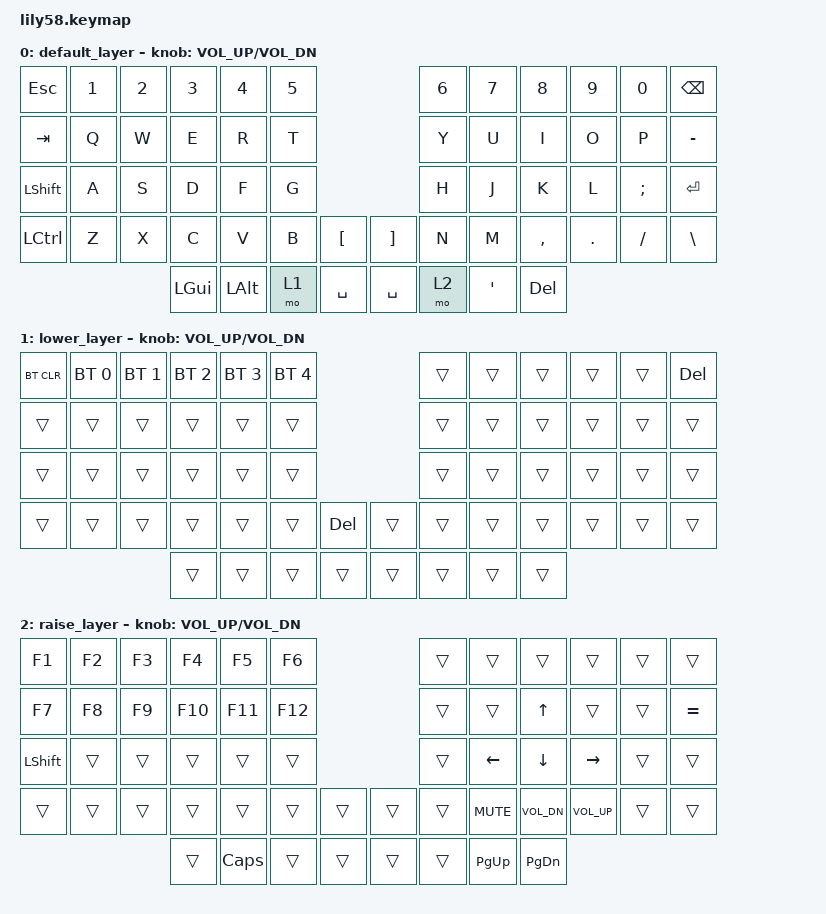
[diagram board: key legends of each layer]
/*
 * Copyright (c) 2020 The ZMK Contributors
 *
 * SPDX-License-Identifier: MIT
 */

#include <behaviors.dtsi>
#include <dt-bindings/zmk/keys.h>
#include <dt-bindings/zmk/bt.h>
#include <dt-bindings/zmk/ext_power.h>

/ {
	keymap {
		compatible = "zmk,keymap";

		default_layer {
// ------------------------------------------------------------------------------------------------------------
// |  ESC  |  1  |  2  |  3   |  4   |  5   |                   |  6   |  7    |  8    |  9   |   0   |   `   |
// |  TAB  |  Q  |  W  |  E   |  R   |  T   |                   |  Y   |  U    |  I    |  O   |   P   |   -   |
// |  CTRL |  A  |  S  |  D   |  F   |  G   |                   |  H   |  J    |  K    |  L   |   ;   |   '   |
// | SHIFT |  Z  |  X  |  C   |  V   |  B   |   "["  |  |  "]"  |  N   |  M    |  ,    |  .   |   /   | SHIFT |
//                     | ALT  | GUI  | LOWER|  SPACE |  | ENTER | RAISE| BSPC  | GUI   |
			bindings = <
&kp ESC   &kp N1 &kp N2 &kp N3   &kp N4   &kp N5                     &kp N6 &kp N7   &kp N8    &kp N9  &kp N0   &kp BSPC
&kp TAB   &kp Q  &kp W  &kp E    &kp R    &kp T                      &kp Y  &kp U    &kp I     &kp O   &kp P    &kp MINUS
&kp LSHFT &kp A  &kp S  &kp D    &kp F    &kp G                      &kp H  &kp J    &kp K     &kp L   &kp SEMI &kp RET
&kp LCTRL &kp Z  &kp X  &kp C    &kp V    &kp B  &kp LBKT   &kp RBKT &kp N  &kp M    &kp COMMA &kp DOT &kp FSLH &kp BSLH
                        &kp LGUI &kp LALT &mo 1  &kp SPACE  &kp SPACE  &mo 2  &kp SQT &kp DEL
			>;

			sensor-bindings = <&inc_dec_kp C_VOL_UP C_VOL_DN>;
		};

		lower_layer {
// ------------------------------------------------------------------------------------------------------------
// | BTCLR | BT1 | BT2 |  BT3 |  BT4 |  BT5 |                   |      |       |       |      |       |       |
// |  F1   |  F2 |  F3 |  F4  |  F5  |  F6  |                   |  F7  |  F8   |  F9   |  F10 |  F11  |  F12  |
// |   `   |  !  |  @  |  #   |  $   |  %   |                   |  ^   |  &    |  *    |  (   |   )   |   ~   |
// |       |     |     |      |      |      |        |  |       |      |  _    |  +    |  {   |   }   |  "|"  |
//                     |      |      |      |        |  |       |      |       |       |
			bindings = <
&bt BT_CLR &bt BT_SEL 0     &bt BT_SEL 1      &bt BT_SEL 2    &bt BT_SEL 3 &bt BT_SEL 4          &trans   &trans   &trans    &trans   &trans   &kp DEL
&trans   &trans    &trans     &trans     &trans    &trans                     			&trans   &trans    &trans       &trans   &trans   &trans
&trans   &trans   &trans     &trans      &trans   &trans             						&trans    &trans  &trans  		&trans   &trans  &trans 
&trans   &trans   &trans    &trans      &trans    &trans   &kp DEL   &trans    &trans   &trans  &trans      &trans   &trans   &trans 
                                              &trans            &trans       &trans    &trans   &trans    &trans    &trans    &trans
			>;

			sensor-bindings = <&inc_dec_kp C_VOL_UP C_VOL_DN>;
		};

		raise_layer {
// ------------------------------------------------------------------------------------------------------------
// |       |     |     |      |      |      |                   |      |       |       |      |       |       |
// |   `   |  1  |  2  |  3   |  4   |  5   |                   |  6   |   7   |   8   |  9   |   0   |       |
// |   F1  |  F2 |  F3 |  F4  |  F5  |  F6  |                   |      |   <-  |   ^   |  v   |  ->   |       |
// |   F7  |  F8 |  F9 |  F10 |  F11 |  F12 |        |  |       |  +   |   -   |   =   |  [   |   ]   |   \   |
//                     |      |      |      |        |  |       |      |       |       |
			bindings = <
&kp F1     &kp F2  	&kp F3 		&kp F4   &kp F5   &kp F6                       		&trans      &trans    &trans    &trans   	&trans    &trans
&kp F7    &kp F8    &kp F9 	&kp F10  &kp F11  &kp F12                       		&trans      &trans    &kp UP    &trans  	&trans     &kp EQUAL
&kp LSHFT     &trans    &trans   &trans  &trans   &trans                        		&trans     &kp LEFT      &kp DOWN    &kp RIGHT    &trans     &trans
&trans     &trans     &trans  &trans   &trans  &trans  &trans   &trans   &trans     &kp C_MUTE     &kp C_VOL_DN    &kp C_VOL_UP    &trans     &trans    
                        &trans  &kp CAPS  &trans    &trans   								&trans    &trans      &kp PG_UP    &kp PG_DN
			>;

			sensor-bindings = <&inc_dec_kp C_VOL_UP C_VOL_DN>;
		};
	};
};
